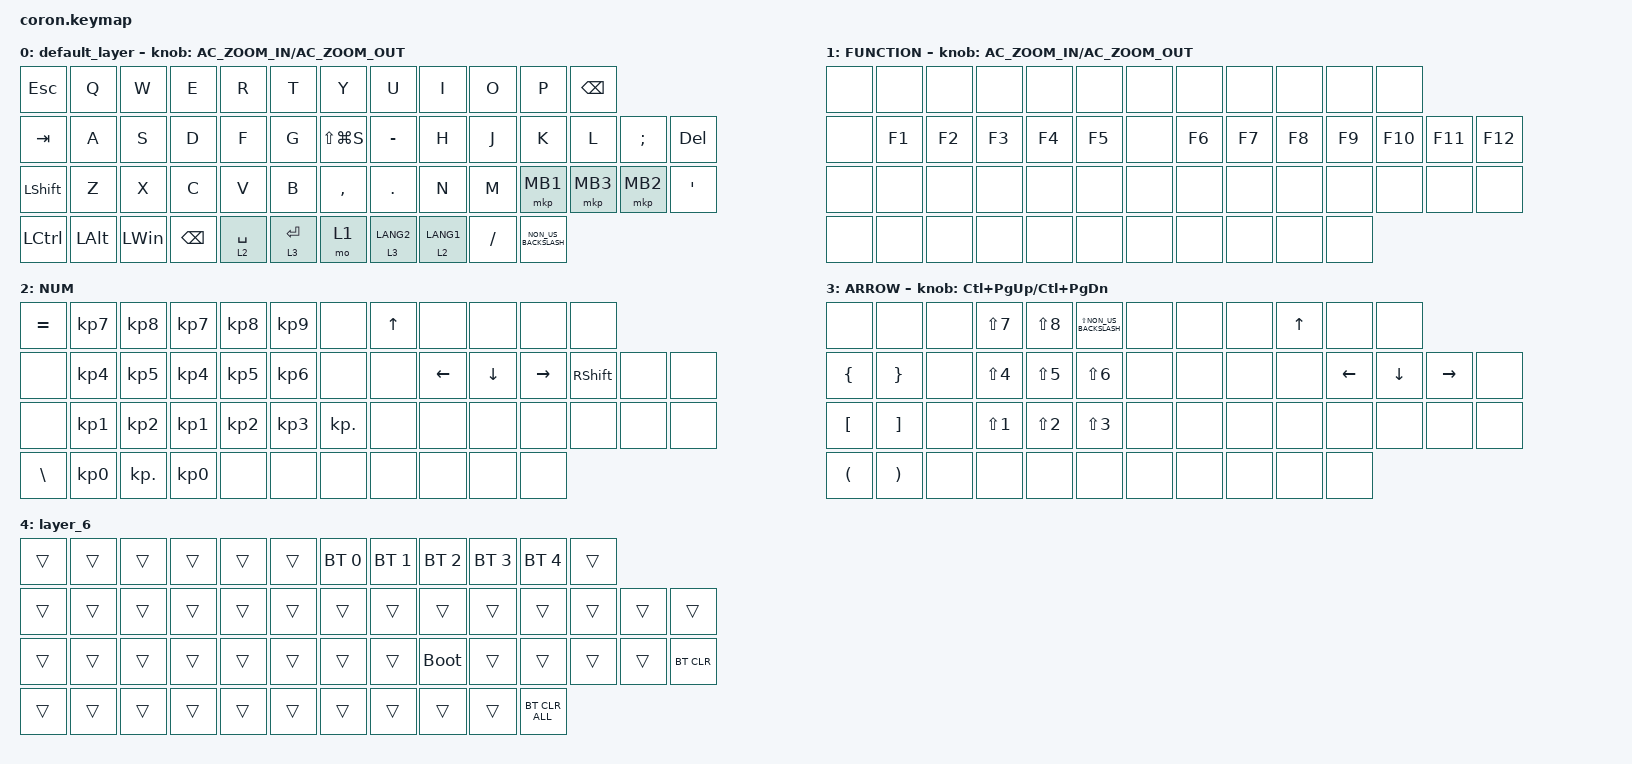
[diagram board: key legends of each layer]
/* coron.keymap */

#include <behaviors.dtsi>
#include <dt-bindings/zmk/bt.h>
#include <dt-bindings/zmk/keys.h>
#include <dt-bindings/zmk/pointing.h>

#define ZMK_POINTING_DEFAULT_SCRL_VAL 80

&mt {
    flavor = "balanced";
    quick-tap-ms = <0>;
};

&trackball {
    automouse-layer = <4>;
    scroll-layers = <5>;
};

/ {
    combos {
        compatible = "zmk,combos";

        /* Note: Key positions have shifted due to added columns. 
           You will need to recalculate these indices later. */

        tab {
            bindings = <&kp TAB>;
            key-positions = <11 12>;
        };

        shift_tab {
            bindings = <&kp LS(TAB)>;
            key-positions = <12 13>;
        };

        muhennkann {
            bindings = <&to_layer_0 INT_MUHENKAN>;
            key-positions = <11 10>;
        };

        double_quotation {
            bindings = <&kp DOUBLE_QUOTES>;
            key-positions = <20 21>;
        };

        eq {
            bindings = <&kp EQUAL>;
            key-positions = <24 25>;
        };
    };

    macros {
        to_layer_0: to_layer_0 {
            compatible = "zmk,behavior-macro-one-param";
            #binding-cells = <1>;
            bindings = <&to 0 &macro_param_1to1 &kp MACRO_PLACEHOLDER>;
            label = "TO_LAYER_0";
        };
    };

    behaviors {
        lt_to_layer_0: lt_to_layer_0 {
            compatible = "zmk,behavior-hold-tap";
            label = "LAYER_TAP_TO_0";
            bindings = <&mo>, <&to_layer_0>;

            #binding-cells = <2>;
            tapping-term-ms = <200>;

        encoder_msc_down_up: encoder_msc_down_up {
            compatible = "zmk,behavior-sensor-rotate";
            label = "ENCODER_MSC_DOWN_UP";
            #sensor-binding-cells = <0>;
            bindings = <&msc SCRL_DOWN>, <&msc SCRL_UP>;
            tap-ms = <20>;
        };

    };

    
macros {};

behaviors {};
keymap {
        compatible = "zmk,keymap";

        default_layer {
            bindings = <
&kp ESC         &kp Q         &kp W         &kp E          &kp R        &kp T        &kp Y          &kp U        &kp I        &kp O      &kp P                 &kp BACKSPACE
&kp TAB         &kp A         &kp S         &kp D          &kp F        &kp G        &kp LS(LG(S))  &kp MINUS    &kp H        &kp J      &kp K                 &kp L          &kp SEMICOLON  &kp DELETE
&kp LEFT_SHIFT  &kp Z         &kp X         &kp C          &kp V        &kp B        &kp COMMA      &kp DOT      &kp N        &kp M      &mkp MB1              &mkp MB3       &mkp MB2       &kp SINGLE_QUOTE
&kp LCTRL       &kp LEFT_ALT  &kp LEFT_WIN  &kp BACKSPACE  &lt 2 SPACE  &lt 3 ENTER  &mo 1          &lt 3 LANG2  &lt 2 LANG1  &kp SLASH  &kp NON_US_BACKSLASH
>;

            sensor-bindings = <&inc_dec_kp C_AC_ZOOM_IN C_AC_ZOOM_OUT>;
        };

        FUNCTION {
            bindings = <
&none  &none   &none   &none   &none   &none   &none  &none   &none   &none   &none   &none
&none  &kp F1  &kp F2  &kp F3  &kp F4  &kp F5  &none  &kp F6  &kp F7  &kp F8  &kp F9  &kp F10  &kp F11  &kp F12
&none  &none   &none   &none   &none   &none   &none  &none   &none   &none   &none   &none    &none    &none
&none  &none   &none   &none   &none   &none   &none  &none   &none   &none   &none
>;

            sensor-bindings = <&inc_dec_kp C_AC_ZOOM_IN C_AC_ZOOM_OUT>;
        };

        NUM {
            bindings = <
&kp EQUAL      &kp KP_NUMBER_7  &kp KP_NUMBER_8  &kp KP_NUMBER_7  &kp KP_NUMBER_8  &kp KP_NUMBER_9  &none       &kp UP  &none     &none           &none      &none
&none          &kp KP_NUMBER_4  &kp KP_NUMBER_5  &kp KP_NUMBER_4  &kp KP_NUMBER_5  &kp KP_NUMBER_6  &none       &none   &kp LEFT  &kp DOWN_ARROW  &kp RIGHT  &kp RIGHT_SHIFT  &none  &none
&none          &kp KP_NUMBER_1  &kp KP_NUMBER_2  &kp KP_NUMBER_1  &kp KP_NUMBER_2  &kp KP_NUMBER_3  &kp KP_DOT  &none   &none     &none           &none      &none            &none  &none
&kp BACKSLASH  &kp KP_NUMBER_0  &kp KP_DOT       &kp KP_NUMBER_0  &none            &none            &none       &none   &none     &none           &none
>;
        };

        ARROW {
            bindings = <
&none                 &none                  &none  &kp LS(N7)        &kp LS(N8)        &kp LS(NON_US_BACKSLASH)  &none  &none  &none  &kp UP_ARROW  &none     &none
&kp LEFT_BRACE        &kp RIGHT_BRACE        &none  &kp LS(NUMBER_4)  &kp LS(N5)        &kp LS(NUMBER_6)          &none  &none  &none  &none         &kp LEFT  &kp DOWN  &kp RIGHT  &none
&kp LEFT_BRACKET      &kp RIGHT_BRACKET      &none  &kp LS(NUMBER_1)  &kp LS(NUMBER_2)  &kp LS(NUMBER_3)          &none  &none  &none  &none         &none     &none     &none      &none
&kp LEFT_PARENTHESIS  &kp RIGHT_PARENTHESIS  &none  &none             &none             &none                     &none  &none  &none  &none         &none
>;

            sensor-bindings = <&inc_dec_kp LC(PAGE_UP) LC(PAGE_DOWN)>;
        };

        layer_6 {
            bindings = <
&trans  &trans  &trans  &trans  &trans  &trans  &bt BT_SEL 0  &bt BT_SEL 1  &bt BT_SEL 2  &bt BT_SEL 3  &bt BT_SEL 4    &trans
&trans  &trans  &trans  &trans  &trans  &trans  &trans        &trans        &trans        &trans        &trans          &trans  &trans  &trans
&trans  &trans  &trans  &trans  &trans  &trans  &trans        &trans        &bootloader   &trans        &trans          &trans  &trans  &bt BT_CLR
&trans  &trans  &trans  &trans  &trans  &trans  &trans        &trans        &trans        &trans        &bt BT_CLR_ALL
>;
        };
    };
};
